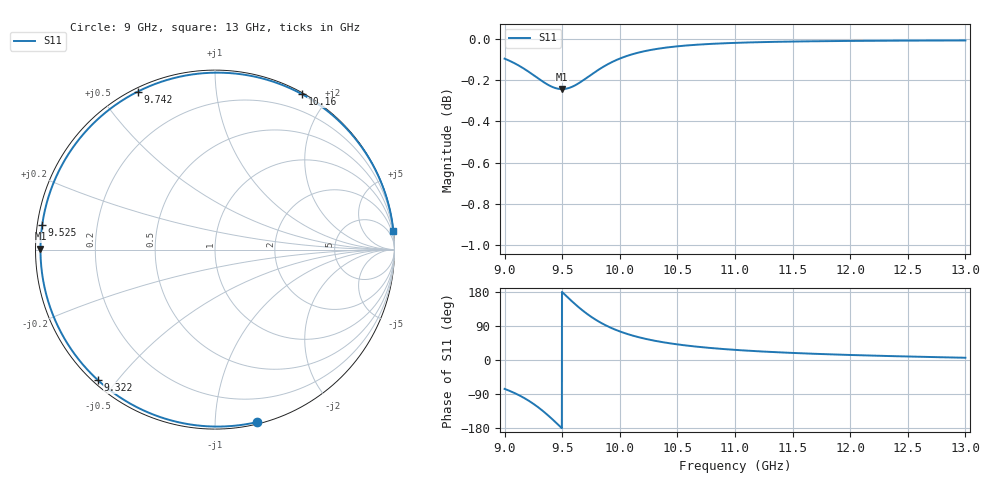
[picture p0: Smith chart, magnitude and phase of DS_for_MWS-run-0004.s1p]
! TOUCHSTONE file generated by CST DESIGN STUDIO
! Date and time: Tue Feb  4 12:25:18 2025
! Project name: C:\Work\MatlabApps\UnitCellOptimizationMatlab\CST\unitcell.cst
! Tree item: Tasks\Sweep1\SPara1\S-Parameters
! Header version: 2024
! Port assignment regex: !\s*Touchstone port\s*([0-9]+)\s*=\s*(CST MWS port|CST DES external port|CST DES block port)\s*(.+)\s* \(\"(.*)\"\)(\s*mode\s*([0-9]+))?.*
! Touchstone port assignment:
! Touchstone port 1 = CST DES external port 1 ("")
# GHz S MA R 50
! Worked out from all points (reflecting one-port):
!   4001 points, 9 GHz to 13 GHz, reference 50 ohm
!   lowest |S11| = -0.2 dB at 9.498 GHz (marker M1), VSWR 71.60, Z = 0.698 + j0.126 ohm
!   phase of S11 starts at -76 deg and turns -278 deg over the sweep
!   S11 on the Smith chart (normalised r, x): 9 GHz: 0.01, -1.27; 9.322 GHz: 0.01, -0.45; 9.525 GHz: 0.01, +0.07; 9.742 GHz: 0.01, +0.62; 10.16 GHz: 0.01, +1.71; 13 GHz: 0, +19
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9  0.9892 -76.2
9.084  0.9867 -86.9
9.185  0.9829 -103.0
9.256  0.9799 -116.9
9.322  0.977 -132.0
9.369  0.9751 -143.9
9.418  0.9735 -157.3
9.459  0.9727 -169.0
9.498  0.9725 179.7
9.5  0.9725 179.1
9.525  0.9726 171.9
9.578  0.9735 156.7
9.638  0.9754 140.5
9.689  0.9775 127.9
9.742  0.9799 116.0
9.795  0.9822 105.5
9.853  0.9845 95.4
9.926  0.9871 84.6
10  0.9892 75.4
10.157  0.9924 60.7
10.313  0.9945 50.2
10.5  0.996 41.2
10.722  0.9971 33.5
11  0.9979 26.7
11.5  0.9987 18.6
12  0.999 13.3
12.5  0.9992 9.2
13  0.9993 5.9
